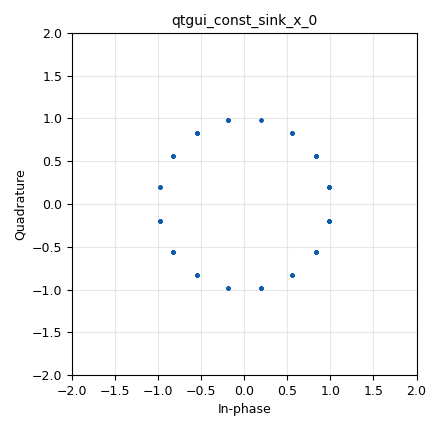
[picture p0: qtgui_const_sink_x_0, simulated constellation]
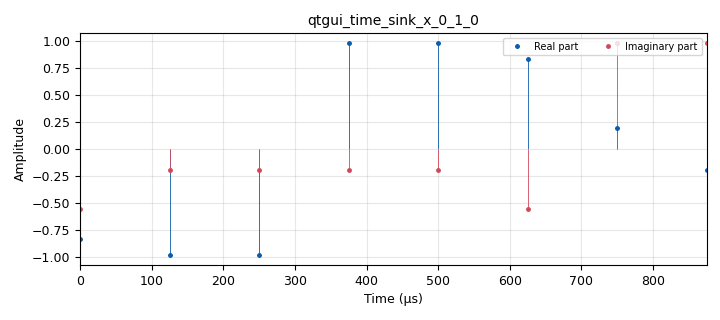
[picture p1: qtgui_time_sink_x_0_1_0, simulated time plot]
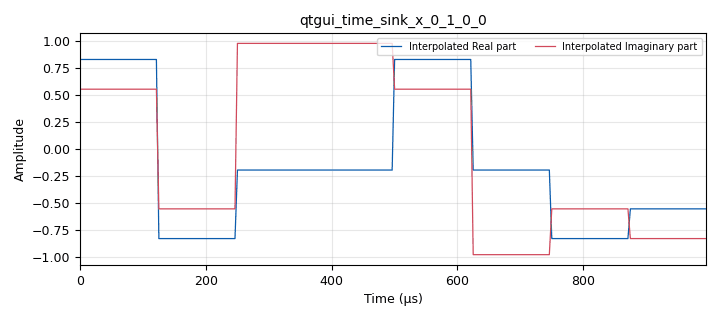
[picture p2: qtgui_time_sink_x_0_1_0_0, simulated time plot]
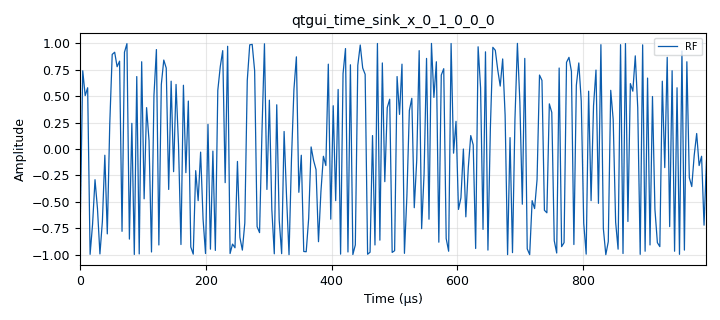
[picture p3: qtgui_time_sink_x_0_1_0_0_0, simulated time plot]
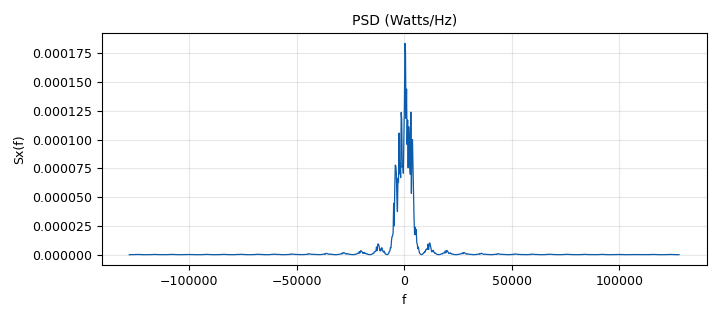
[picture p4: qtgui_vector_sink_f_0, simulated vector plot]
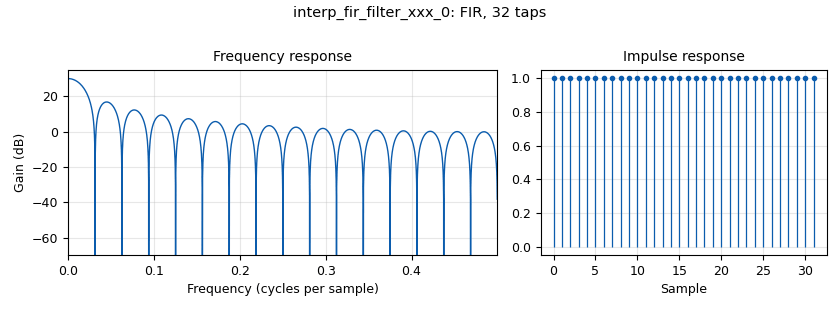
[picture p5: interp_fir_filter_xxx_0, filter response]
options:
  parameters:
    generate_options: qt_gui
    id: mpsk
    output_language: python
    title: Not titled yet
  states: {}

blocks:
- name: M
  id: variable
  parameters:
    value: '16'
  states: {}
- name: N
  id: variable
  parameters:
    value: '1024'
  states: {}
- name: Nb
  id: variable
  parameters:
    value: int(math.log(M,2))
  states: {}
- name: Rb
  id: variable
  parameters:
    value: '32000'
  states: {}
- name: Rs
  id: variable
  parameters:
    value: Rb/Nb
  states: {}
- name: Sps
  id: variable
  parameters:
    value: len(h)
  states: {}
- name: h
  id: variable
  parameters:
    value: (1.,1.,1.,1.,1.,1.,1.,1,1.,1.,1.,1.,1.,1.,1.,1,1.,1.,1.,1.,1.,1.,1.,1,1.,1.,1.,1.,1.,1.,1.,1)
  states: {}
- name: samp_rate
  id: variable
  parameters:
    value: Rs*Sps
  states: {}
- name: Menu
  id: qtgui_tab_widget
  parameters:
    label0: Tab 0
    label1: Tab 1
    num_tabs: '2'
  states: {}
- name: analog_random_source_x_0
  id: analog_random_source_x
  parameters:
    max: '2'
    min: '0'
    num_samps: '1000'
    repeat: 'True'
    type: byte
  states: {}
- name: blocks_complex_to_mag_squared_0
  id: blocks_complex_to_mag_squared
  parameters:
    vlen: N
  states: {}
- name: blocks_multiply_const_vxx_1
  id: blocks_multiply_const_vxx
  parameters:
    const: '[1/(N*samp_rate)]*N'
    type: float
    vlen: N
  states: {}
- name: blocks_stream_to_vector_0
  id: blocks_stream_to_vector
  parameters:
    num_items: N
    type: complex
  states: {}
- name: blocks_throttle2_0
  id: blocks_throttle2
  parameters:
    samples_per_second: samp_rate
    type: complex
  states: {}
- name: epy_block_0
  id: epy_block
  parameters:
    N: N
    _source_code: |
      import numpy as np
      from gnuradio import gr


      class blk(gr.sync_block):  
          """vector averager. N is the lengh of the vector"""

          def __init__(self, N=1024):
              gr.sync_block.__init__(
                  self,
                  name='e_vec_averager_ff',   
                  in_sig=[(np.float32,N)],
                  out_sig=[(np.float32,N)]
              )
              self.N = N
              self.rows_counter=0
              self.sum=0

          def work(self, input_items, output_items):
              x=input_items[0]
              y=output_items[0]
              self.sum += np.sum(x, axis=0)
              self.rows_counter += len(x)
              y[:]=self.sum/self.rows_counter
              return len(output_items[0])
  states: {}
- name: epy_block_0_0
  id: epy_block
  parameters:
    A: '1'
    M: M
    _source_code: |
      import numpy as np
      from gnuradio import gr
      import math

      class blk(gr.sync_block):  
          """
          M-PSK Modulator:
          - Input: binary stream (0/1)
          - Outputs:
              0: complex baseband signal
              1: real RF signal
          """

          def __init__(self, M=4, A=1.0, fc=1000, fs=32000):  
              gr.sync_block.__init__(
                  self,
                  name='MPSK_Modulator',
                  in_sig=[np.int8],
                  out_sig=[np.complex64, np.float32]
              )
              
              self.M = M
              self.A = A
              self.fc = fc
              self.fs = fs
              self.n_m=0
              
              self.k = int(np.log2(M))  # bits per symbol
              self.phase_acc = 0  # para continuidad de fase si quieres extenderlo

          def work(self, input_items, output_items):
              bits = input_items[0]
              bb_out = output_items[0]
              rf_out = output_items[1]

              N = len(bits)

              # Número de símbolos que podemos formar
              num_symbols = N // self.k

              if num_symbols == 0:
                  return 0

              # Agrupar bits
              bits_reshaped = bits[:num_symbols*self.k].reshape((num_symbols, self.k))

              # Convertir bits a enteros
              symbols = np.zeros(num_symbols, dtype=np.int32)
              for i in range(self.k):
                  symbols += bits_reshaped[:, i] << (self.k - i - 1)

              # Mapear a fase
              phases = 2 * np.pi * symbols / self.M + math.pi/16

              # Envolvente compleja (baseband)
              bb = self.A * np.exp(1j * phases)

              # Tiempo discreto
              t = np.arange(num_symbols) / self.fs

              #n = np.linspace(self.n_m,self.n_m+N-1,N)
              #self.n_m += N
              #rf = self.A*np.cos(2*math.pi*self.fc*n/self.samp_rate+phases)

              # Señal RF
              rf = self.A * np.cos(2 * np.pi * self.fc * t + phases)

              # Salidas
              bb_out[:num_symbols] = bb
              rf_out[:num_symbols] = rf

              return num_symbols
    fc: '12400'
    fs: samp_rate
  states: {}
- name: fft_vxx_0
  id: fft_vxx
  parameters:
    fft_size: N
    forward: 'True'
    shift: 'True'
    type: complex
    window: '[1]*N'
  states: {}
- name: import_0
  id: import
  parameters:
    imports: import math
  states: {}
- name: interp_fir_filter_xxx_0
  id: interp_fir_filter_xxx
  parameters:
    interp: Sps
    taps: h
    type: ccc
  states: {}
- name: qtgui_const_sink_x_0
  id: qtgui_const_sink_x
  parameters:
    gui_hint: Menu@0
    size: '1024'
    type: complex
  states: {}
- name: qtgui_time_sink_x_0_1_0
  id: qtgui_time_sink_x
  parameters:
    autoscale: 'True'
    grid: 'True'
    gui_hint: Menu@1
    label1: Real part
    label2: Imaginary part
    marker1: '0'
    marker2: '0'
    size: int(32/Nb)
    srate: Rs
    stemplot: 'True'
    style1: '2'
    type: complex
    width1: '2'
    width2: '2'
  states: {}
- name: qtgui_time_sink_x_0_1_0_0
  id: qtgui_time_sink_x
  parameters:
    autoscale: 'True'
    color1: green
    grid: 'True'
    gui_hint: Menu@0
    label1: Interpolated Real part
    label2: Interpolated Imaginary part
    size: int(32*Sps/Nb)
    srate: samp_rate
    type: complex
    width1: '2'
    width2: '2'
  states: {}
- name: qtgui_time_sink_x_0_1_0_0_0
  id: qtgui_time_sink_x
  parameters:
    autoscale: 'True'
    grid: 'True'
    gui_hint: Menu@1
    label1: RF
    size: int(32*Sps/Nb)
    srate: samp_rate
    type: float
    width1: '2'
  states: {}
- name: qtgui_vector_sink_f_0
  id: qtgui_vector_sink_f
  parameters:
    autoscale: 'True'
    gui_hint: Menu@0:3,0,1,1
    label1: p4
    name: '"PSD (Watts/Hz)"'
    vlen: N
    x_axis_label: '"f"'
    x_start: '-samp_rate/2'
    x_step: samp_rate/N
    x_units: '"Hz"'
    y_axis_label: '"Sx(f)"'
    y_units: '"Watss/Hz"'
    ymax: 1/Rb
    ymin: '0'
  states: {}
- name: virtual_sink_0
  id: virtual_sink
  parameters:
    stream_id: p
  states: {}
- name: virtual_source_0
  id: virtual_source
  parameters:
    stream_id: p
  states: {}

connections:
- [analog_random_source_x_0, '0', epy_block_0_0, '0']
- [blocks_complex_to_mag_squared_0, '0', epy_block_0, '0']
- [blocks_multiply_const_vxx_1, '0', qtgui_vector_sink_f_0, '0']
- [blocks_stream_to_vector_0, '0', fft_vxx_0, '0']
- [blocks_throttle2_0, '0', qtgui_time_sink_x_0_1_0_0, '0']
- [blocks_throttle2_0, '0', virtual_sink_0, '0']
- [epy_block_0, '0', blocks_multiply_const_vxx_1, '0']
- [epy_block_0_0, '0', interp_fir_filter_xxx_0, '0']
- [epy_block_0_0, '0', qtgui_const_sink_x_0, '0']
- [epy_block_0_0, '0', qtgui_time_sink_x_0_1_0, '0']
- [epy_block_0_0, '1', qtgui_time_sink_x_0_1_0_0_0, '0']
- [fft_vxx_0, '0', blocks_complex_to_mag_squared_0, '0']
- [interp_fir_filter_xxx_0, '0', blocks_throttle2_0, '0']
- [virtual_source_0, '0', blocks_stream_to_vector_0, '0']

metadata:
  file_format: 1
  grc_version: v3.10.11.0-89-ga17f69e7
